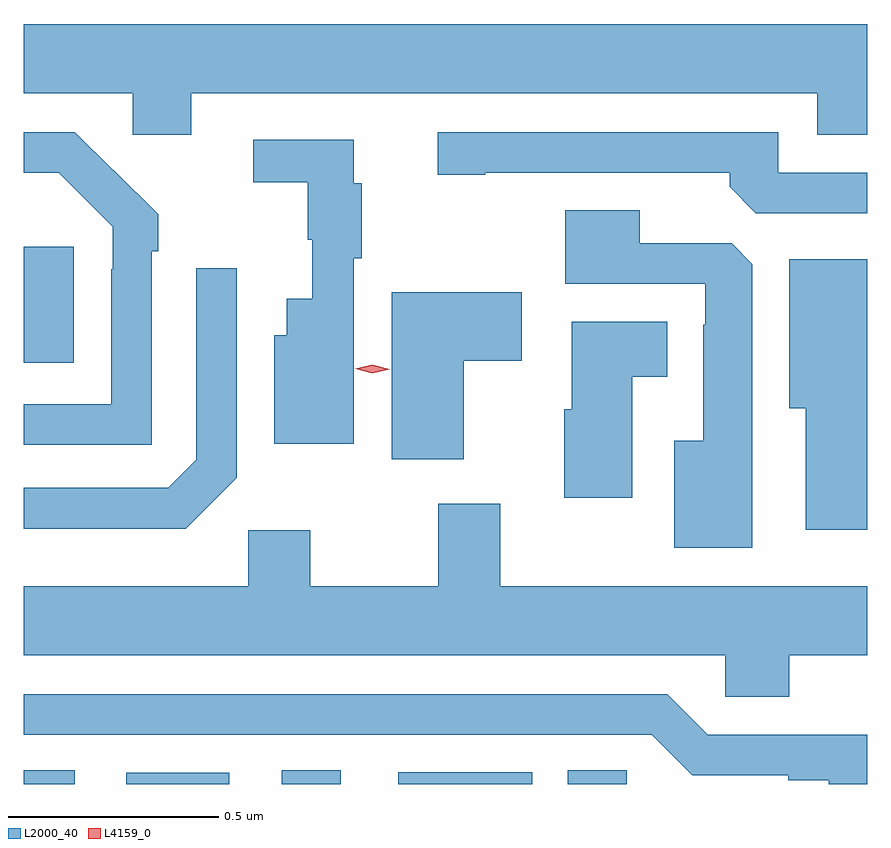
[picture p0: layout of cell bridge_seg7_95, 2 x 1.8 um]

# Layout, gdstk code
import gdstk
lib = gdstk.Library(unit=1e-6, precision=1e-09)
def R(c, l, rs):  # rectangles x0, y0, x1, y1
    for r in rs: c.add(gdstk.rectangle(r[:2], r[2:], *l))
def P(c, l, *ps):  # polygons
    for p in ps: c.add(gdstk.Polygon(p, *l))
L2000_40 = (2000, 40)
L4159_0 = (4159, 0)

bridge_seg7_95 = lib.new_cell('bridge_seg7_95')
R(bridge_seg7_95, L2000_40, [(1107.764,1014.963,1107.886,1014.995), (1108.008,1014.963,1108.252,1014.99), (1108.376,1014.963,1108.516,1014.995), (1108.652,1014.963,1108.969,1014.991), (1109.054,1014.963,1109.193,1014.995), (1107.764,1015.961,1107.883,1016.236)])
P(bridge_seg7_95, L2000_40, [(1109.764,1016.764),(1107.764,1016.764),(1107.764,1016.6),(1108.023,1016.6),(1108.023,1016.502),(1108.162,1016.502),(1108.162,1016.6),(1109.645,1016.6),(1109.645,1016.501),(1109.764,1016.501)],
  [(1108.068,1016.225),(1108.083,1016.225),(1108.083,1016.313),(1107.978,1016.418),(1107.977,1016.417),(1107.886,1016.508),(1107.764,1016.508),(1107.764,1016.412),(1107.847,1016.412),(1107.975,1016.283),(1107.975,1016.183),(1107.972,1016.183),(1107.972,1015.863),(1107.764,1015.863),(1107.764,1015.767),(1108.068,1015.767)],
  [(1109.764,1016.412),(1109.553,1016.412),(1109.553,1016.508),(1108.746,1016.508),(1108.746,1016.407),(1108.858,1016.407),(1108.858,1016.412),(1109.438,1016.412),(1109.438,1016.378),(1109.499,1016.316),(1109.764,1016.316)],
  [(1108.546,1016.209),(1108.565,1016.209),(1108.565,1016.387),(1108.547,1016.387),(1108.547,1016.49),(1108.308,1016.49),(1108.308,1016.389),(1108.437,1016.389),(1108.437,1016.253),(1108.448,1016.253),(1108.448,1016.113),(1108.388,1016.113),(1108.388,1016.026),(1108.358,1016.026),(1108.358,1015.769),(1108.546,1015.769)],
  [(1109.491,1016.195),(1109.442,1016.244),(1109.224,1016.244),(1109.224,1016.323),(1109.048,1016.323),(1109.048,1016.148),(1109.379,1016.148),(1109.379,1016.051),(1109.375,1016.051),(1109.375,1015.777),(1109.306,1015.777),(1109.306,1015.523),(1109.491,1015.523)],
  [(1109.764,1016.206),(1109.579,1016.206),(1109.579,1015.853),(1109.618,1015.853),(1109.618,1015.566),(1109.764,1015.566)],
  [(1108.269,1015.689),(1108.269,1016.185),(1108.173,1016.185),(1108.173,1015.731),(1108.107,1015.665),(1107.764,1015.665),(1107.764,1015.568),(1108.148,1015.568)],
  [(1108.807,1015.966),(1108.945,1015.966),(1108.945,1016.128),(1108.637,1016.128),(1108.637,1015.733),(1108.807,1015.733)],
  [(1109.206,1015.928),(1109.29,1015.928),(1109.29,1016.059),(1109.063,1016.059),(1109.063,1015.851),(1109.045,1015.851),(1109.045,1015.641),(1109.206,1015.641)],
  [(1109.579,1015.268),(1109.764,1015.268),(1109.764,1015.432),(1108.894,1015.432),(1108.894,1015.627),(1108.747,1015.627),(1108.747,1015.432),(1108.443,1015.432),(1108.443,1015.564),(1108.296,1015.564),(1108.296,1015.432),(1107.764,1015.432),(1107.764,1015.268),(1109.427,1015.268),(1109.427,1015.17),(1109.579,1015.17)],
  [(1109.764,1015.08),(1109.385,1015.08),(1109.289,1015.176),(1107.764,1015.176),(1107.764,1015.08),(1109.253,1015.08),(1109.349,1014.984),(1109.576,1014.984),(1109.576,1014.972),(1109.672,1014.972),(1109.672,1014.963),(1109.764,1014.963)])
P(bridge_seg7_95, L4159_0, [(1108.591,1015.936),(1108.55,1015.947),(1108.55,1015.947),(1108.55,1015.947),(1108.591,1015.956),(1108.632,1015.946),(1108.632,1015.946),(1108.632,1015.946)])

lib.write_gds('bridge_seg7_95.gds')
